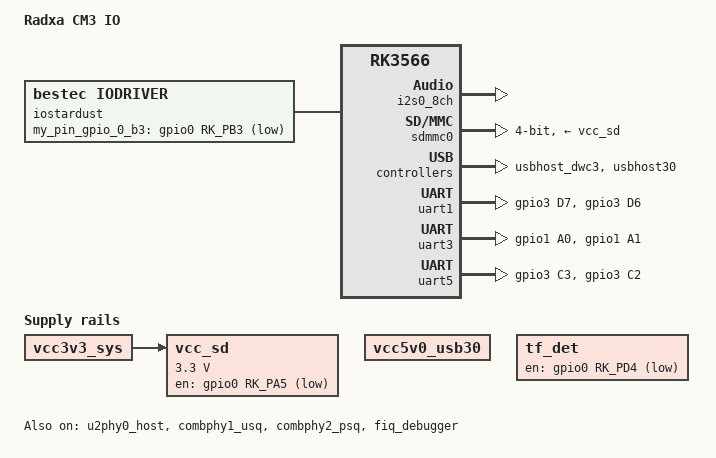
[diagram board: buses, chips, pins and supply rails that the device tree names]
// SPDX-License-Identifier: (GPL-2.0+ OR MIT)
/*
 * Copyright (c) 2020 Rockchip Electronics Co., Ltd.
 * Copyright (c) 2022 Radxa Limited.
 *
 */

/dts-v1/;

#include "base_stardust.dtsi"
#include "bestec_lvds_7inch.dtsi"
#include <dt-bindings/display/rockchip_vop.h>

/ {
	model = "Radxa CM3 IO";
	compatible = "radxa,radxa-cm3-io", "rockchip,rk3566";

	hdmi_sound: hdmi-sound {
		compatible = "simple-audio-card";
		simple-audio-card,format = "i2s";
		simple-audio-card,mclk-fs = <128>;
		simple-audio-card,name = "rockchip,hdmi";

		simple-audio-card,cpu {
				sound-dai = <&i2s0_8ch>;
		};
		simple-audio-card,codec {
				sound-dai = <&hdmi>;
		};
	};

	vcc5v0_usb30: vcc5v0-usb30-regulator {
		compatible = "regulator-fixed";
		enable-active-high;
		//gpio = <&gpio3 RK_PC2 GPIO_ACTIVE_HIGH>;
		//pinctrl-names = "default";	
		//pinctrl-0 = <&vcc5v0_usb30_en>;	// uart5 와 겹침
		regulator-name = "vcc5v0_usb30";
		regulator-always-on;
		regulator-boot-on;
	};

	vcc_sd: sdmmc-regulator {
		compatible = "regulator-fixed";
		gpio = <&gpio0 RK_PA5 GPIO_ACTIVE_LOW>;
		pinctrl-names = "default";
		pinctrl-0 = <&sdmmc_pwren>;
		regulator-name = "vcc_sd";
		regulator-min-microvolt = <3300000>;
		regulator-max-microvolt = <3300000>;
		startup-delay-us = <100000>;
		vin-supply = <&vcc3v3_sys>;
	};

	tf_det: tf-det-regulator {
		compatible = "regulator-fixed";
		enable-active-low;
		gpio = <&gpio0 RK_PD4 GPIO_ACTIVE_LOW>;
		pinctrl-names = "default";
		pinctrl-0 = <&tf_det_en>;
		regulator-name = "tf_det";
		regulator-always-on;
		regulator-boot-on;
	};

	iostardust{
                compatible = "bestec,iodriver";
                pinctrl-names = "default";
                pinctrl-0 = <&ioport>;
                TEST,my_pin_gpio_0_b3 = <&gpio0 RK_PB3 GPIO_ACTIVE_LOW>;
                status = "okay";
        };
};

&gpio_leds {
	pi-led-green {
		gpios = <&gpio4 4 GPIO_ACTIVE_LOW>;
		linux,default-trigger = "heartbeat";
		default-state = "on";
		pinctrl-0 = <&pi_led>;
	};

	//pwr-led-red {	//usb 상당 전원과 겹침
	//	gpios = <&gpio4 15 GPIO_ACTIVE_LOW>;
	//	linux,default-trigger = "none";
	//	default-state = "on";
	//	pinctrl-0 = <&pwr_led>;
	//};
};

&i2s0_8ch {
	status = "okay";
};


&sdmmc0 {
	max-frequency = <150000000>;
	supports-sd;
	bus-width = <4>;
	cap-mmc-highspeed;
	cap-sd-highspeed;
	disable-wp;
	vmmc-supply = <&vcc_sd>;
	vqmmc-supply = <&vccio_sd>;
	pinctrl-names = "default";
	pinctrl-0 = <&sdmmc0_bus4 &sdmmc0_clk &sdmmc0_cmd &sdmmc0_det>;
	status = "okay";
	//status = "disabled";
};


&u2phy0_host {
	phy-supply = <&vcc5v0_usb30>;
	status = "okay";
};

&usbhost_dwc3 {
	status = "okay";
};

&usbhost30 {
	status = "okay";
};

&combphy1_usq {
	status = "okay";
};

&combphy2_psq {
	status = "okay";
};

&uart1 {
        status = "okay";
        pinctrl-names = "default";
        pinctrl-0 = <&uart1m1_xfer>;
        dma-names = "!tx", "!rx";

};


&uart3 {
        status = "okay";
        pinctrl-names = "default";
        pinctrl-0 = <&uart3m0_xfer>;
        dma-names = "!tx", "!rx";
};

&uart5 {
        status = "okay";
        pinctrl-names = "default";
        pinctrl-0 = <&uart5m1_xfer>;
        dma-names = "!tx", "!rx";
};


&pinctrl {
	usb {
		vcc5v0_usb30_en: vcc5v0-host-en {
			rockchip,pins = <3 RK_PC2 RK_FUNC_GPIO &pcfg_pull_none>;
		};
	};

	leds {
		pi_led: pi-led{
			rockchip,pins = <4 RK_PA4 RK_FUNC_GPIO &pcfg_pull_none>;
		};

		pwr_led: pwr-led{
			rockchip,pins = <4 RK_PB7 RK_FUNC_GPIO &pcfg_pull_none>;
		};
	};
	io_stardust{
                ioport: ioport{
                        rockchip,pins = <4 RK_PA5 RK_FUNC_GPIO &pcfg_pull_none>,// usb 하단 PWR
                                        <4 RK_PB7 RK_FUNC_GPIO &pcfg_pull_none>,// usb 상단 PWR
                                        <4 RK_PA7 RK_FUNC_GPIO &pcfg_pull_none>,// Power On
                                        <3 RK_PD2 RK_FUNC_GPIO &pcfg_pull_up>,// Power Fail
                                        <4 RK_PA4 RK_FUNC_GPIO &pcfg_pull_none_drv_level_5>,// Run LED
                                        <3 RK_PD0 RK_FUNC_GPIO &pcfg_pull_none>,// BUZZ
                                        //<3 RK_PC6 RK_FUNC_GPIO &pcfg_pull_none>,// LCD PWR
                                        //<4 RK_PB1 RK_FUNC_GPIO &pcfg_pull_none>,// LCD_BL_EN
                                        <3 RK_PD1 RK_FUNC_GPIO &pcfg_pull_none>;// Recovery
                                        //<3 RK_PD3 RK_FUNC_GPIO &pcfg_pull_none>,//Touch Rst#
                                        //<3 RK_PD4 RK_FUNC_GPIO &pcfg_pull_none>,//Touch Int
                };
        };


	uart1 {
                uart1m1_xfer: uart1m1-xfer {
                        rockchip,pins =
                                /* uart1_rxm1 */
                                <3 RK_PD7 4 &pcfg_pull_up_drv_level_5>,
                                /* uart1_txm1 */
                                <3 RK_PD6 4 &pcfg_pull_up_drv_level_5>;
                };
        };

        uart3 {
                uart3m0_xfer: uart3m0-xfer {
                        rockchip,pins =
                                /* uart3_rxm0 */
                                <1 RK_PA0 2 &pcfg_pull_up_drv_level_5>,
                                /* uart3_txm0 */
                                <1 RK_PA1 2 &pcfg_pull_up_drv_level_5>;
                };

        };


        uart5 {
                uart5m1_xfer: uart5m1-xfer {
                        rockchip,pins =
                                /* uart5_rxm1 */
                                <3 RK_PC3 4 &pcfg_pull_up_drv_level_5>,
                                /* uart5_txm1 */
                                <3 RK_PC2 4 &pcfg_pull_up_drv_level_5>;
                };
        };

	sdcard {
		sdmmc_pwren: sdmmc-pwren {
			rockchip,pins = <0 RK_PA5 RK_FUNC_GPIO &pcfg_pull_none>;
		};

		tf_det_en: tf-det-en {
			rockchip,pins = <0 RK_PD4 RK_FUNC_GPIO &pcfg_output_low>;
		};
	};

	gmac1 {
		gmac1m0_miim: gmac1m0-miim {
			rockchip,pins =
				/* gmac1_mdcm0 */
				<3 RK_PC4 3 &pcfg_pull_none_drv_level_15>,
				/* gmac1_mdiom0 */
				<3 RK_PC5 3 &pcfg_pull_none_drv_level_15>;
		};

		gmac1m0_rx_bus2: gmac1m0-rx-bus2 {
			rockchip,pins =
				/* gmac1_rxd0m0 */
				<3 RK_PB1 3 &pcfg_pull_none_drv_level_15>,
				/* gmac1_rxd1m0 */
				<3 RK_PB2 3 &pcfg_pull_none_drv_level_15>,
				/* gmac1_rxdvcrsm0 */
				<3 RK_PB3 3 &pcfg_pull_none_drv_level_15>;
		};

		gmac1m0_tx_bus2: gmac1m0-tx-bus2 {
			rockchip,pins =
				/* gmac1_txd0m0 */
				<3 RK_PB5 3 &pcfg_pull_none_drv_level_15>,
				/* gmac1_txd1m0 */
				<3 RK_PB6 3 &pcfg_pull_none_drv_level_15>,
				/* gmac1_txenm0 */
				<3 RK_PB7 3 &pcfg_pull_none_drv_level_15>;
		};

		gmac1m0_rgmii_clk: gmac1m0-rgmii-clk {
			rockchip,pins =
				/* gmac1_rxclkm0 */
				<3 RK_PA7 3 &pcfg_pull_none_drv_level_15>,
				/* gmac1_txclkm0 */
				<3 RK_PA6 3 &pcfg_pull_none_drv_level_15>;
		};

		gmac1m0_rgmii_bus: gmac1m0-rgmii-bus {
			rockchip,pins =
				/* gmac1_rxd2m0 */
				<3 RK_PA4 3 &pcfg_pull_none_drv_level_15>,
				/* gmac1_rxd3m0 */
				<3 RK_PA5 3 &pcfg_pull_none_drv_level_15>,
				/* gmac1_txd2m0 */
				<3 RK_PA2 3 &pcfg_pull_none_drv_level_15>,
				/* gmac1_txd3m0 */
				<3 RK_PA3 3 &pcfg_pull_none_drv_level_15>;
		};

		gmac1m0_clkinout: gmac1m0-clkinout {
			rockchip,pins =
				/* gmac1_mclkinoutm0 */
				<3 RK_PC0 3 &pcfg_pull_none_drv_level_15>;
		};
	};
};

&fiq_debugger {
	status = "okay";
 	rockchip,baudrate = <115200>;  /* Only 115200 and 1500000 */
};

